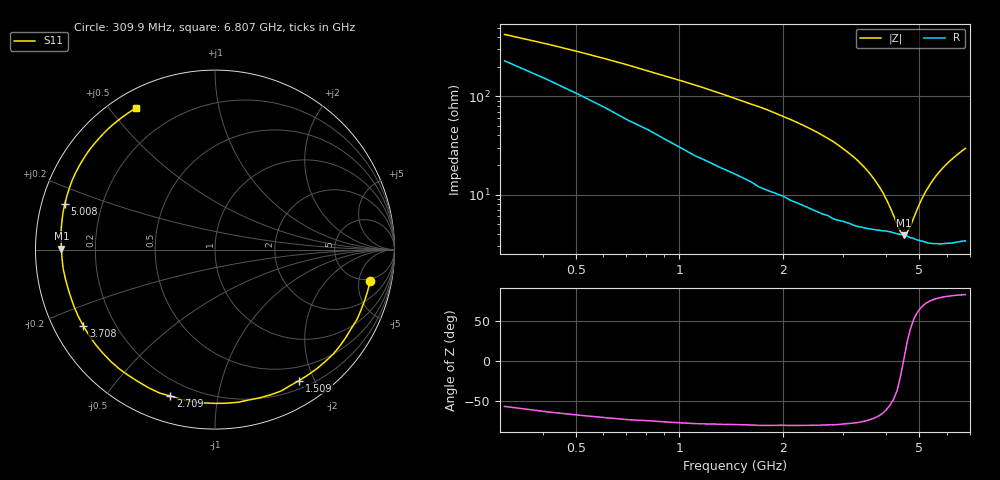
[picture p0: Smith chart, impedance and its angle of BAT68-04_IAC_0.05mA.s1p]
! Infineon Technologies  Discrete & RF Semiconductors
! BAT68-04
! IAC = 0.05 mA
! One-Port S-Parameters
# Hz  S  MA  R  50
!f  S11
!Hz  Mag  Ang
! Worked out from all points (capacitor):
!   66 points, 309.9 MHz to 6.807 GHz, reference 50 ohm
!   read as one part to ground: C = 1.25 pF near 309.9 MHz
!   lowest |Z| = 3.88 ohm at 4.508 GHz (marker M1)
!   series resonance near 4.497 GHz, so ESL is about 1 nH
!   S11 on the Smith chart (normalised r, x): 309.9 MHz: 4.58, -7.15; 1.509 GHz: 0.30, -1.79; 2.709 GHz: 0.12, -0.73; 3.708 GHz: 0.09, -0.27; 5.008 GHz: 0.07, +0.15; 6.807 GHz: 0.07, +0.59
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3.0985e8  0.8817 -11.4
7.0965e8  0.8817 -26.2
1.0095e9  0.8787 -37.6
1.2094e9  0.8754 -45.4
1.50925e9  0.8671 -57.4
1.70915e9  0.8696 -65.0
2.009e9  0.8587 -77.5
2.2089e9  0.8582 -85.6
2.4088e9  0.8563 -94.0
2.6087e9  0.8558 -102.5
2.70865e9  0.8529 -106.9
2.8086e9  0.8567 -111.0
3.0085e9  0.8513 -120.0
3.2084e9  0.852 -128.6
3.4083e9  0.8505 -137.2
3.6082e9  0.8489 -145.7
3.70815e9  0.8478 -149.9
4.008e9  0.8464 -162.1
4.2079e9  0.8497 -169.5
4.4078e9  0.8536 -176.8
4.50775e9  0.8562 179.6
4.70765e9  0.8641 173.0
5.0075e9  0.8746 163.2
5.2074e9  0.8809 157.0
5.6072e9  0.8901 145.6
6.007e9  0.8958 135.8
6.30685e9  0.8993 129.1
6.8066e9  0.9039 119.1
